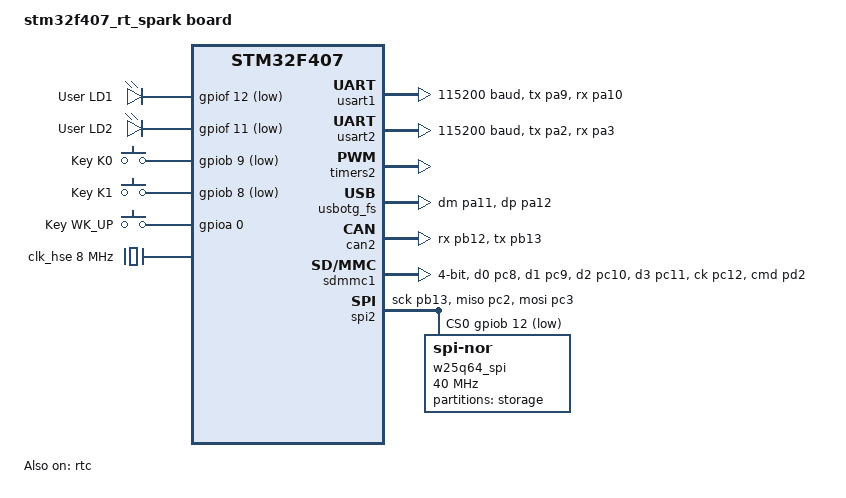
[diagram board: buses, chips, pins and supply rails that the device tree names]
/*
 * Copyright The Zephyr Project Contributors
 *
 * SPDX-License-Identifier: Apache-2.0
 */

/dts-v1/;
#include <st/f4/stm32f407Xg.dtsi>
#include <st/f4/stm32f407z(e-g)tx-pinctrl.dtsi>
#include <zephyr/dt-bindings/input/input-event-codes.h>
#include <zephyr/dt-bindings/dma/stm32_dma.h>
/ {
	model = "stm32f407_rt_spark board";
	compatible = "ruiside,stm32f407-rt-spark";

	chosen {
		zephyr,console = &usart1;
		zephyr,shell-uart = &usart1;
		zephyr,sram = &sram0;
		zephyr,flash = &flash0;
		zephyr,ccm = &ccm0;
	};

	leds {
		compatible = "gpio-leds";

		red_led: led_1 {
			gpios = <&gpiof 12 GPIO_ACTIVE_LOW>;
			label = "User LD1";
		};

		blue_led: led_2 {
			gpios = <&gpiof 11 GPIO_ACTIVE_LOW>;
			label = "User LD2";
		};
	};

	gpio_keys {
		compatible = "gpio-keys";

		user_button_0: K0 {
			label = "Key K0";
			gpios = <&gpiob 9 GPIO_ACTIVE_LOW>;
			zephyr,code = <INPUT_KEY_0>;
		};

		user_button_1: K1 {
			label = "Key K1";
			gpios = <&gpiob 8 GPIO_ACTIVE_LOW>;
			zephyr,code = <INPUT_KEY_1>;
		};

		user_button_UP: K_UP {
			label = "Key WK_UP";
			gpios = <&gpioa 0 GPIO_ACTIVE_HIGH>;
			zephyr,code = <INPUT_KEY_UP>;
		};
	};

	aliases {
		led0 = &red_led;
		led1 = &blue_led;
		sw0 = &user_button_UP;
		sdhc0 = &sdhc;
	};
};

&clk_lsi {
	status = "okay";
};

&clk_hse {
	clock-frequency = <DT_FREQ_M(8)>;
	status = "okay";
};

&pll {
	div-m = <8>;
	mul-n = <336>;
	div-p = <2>;
	div-q = <7>;
	clocks = <&clk_hse>;
	status = "okay";
};

&rcc {
	clocks = <&pll>;
	clock-frequency = <DT_FREQ_M(168)>;
	ahb-prescaler = <1>;
	apb1-prescaler = <4>;
	apb2-prescaler = <2>;
};


&usart1 {
	pinctrl-0 = <&usart1_tx_pa9 &usart1_rx_pa10>;
	pinctrl-names = "default";
	current-speed = <115200>;
	status = "okay";
};

&usart2 {
	pinctrl-0 = <&usart2_tx_pa2 &usart2_rx_pa3>;
	pinctrl-names = "default";
	current-speed = <115200>;
	status = "okay";
};

&timers2 {
	status = "okay";

	pwm2: pwm {
		status = "okay";
		pinctrl-0 = <&tim2_ch1_pa0>;
		pinctrl-names = "default";
	};
};

&rtc {
	clocks = <&rcc STM32_CLOCK_BUS_APB1 0x10000000>,
	         <&rcc STM32_SRC_LSI RTC_SEL(2)>;
	status = "okay";
};

zephyr_udc0: &usbotg_fs {
	pinctrl-0 = <&usb_otg_fs_dm_pa11 &usb_otg_fs_dp_pa12>;
	pinctrl-names = "default";
	status = "okay";
};

&can1 {
	pinctrl-0 = <&can1_rx_pd0 &can1_tx_pd1>;
	pinctrl-names = "default";
	status = "disabled";
};

&can2 {
	pinctrl-0 = <&can2_rx_pb12 &can2_tx_pb13>;
	pinctrl-names = "default";
	status = "okay";
};

// &sdmmc1 {
// 	status = "okay";
// 	pinctrl-0 = <&sdio_d0_pc8 &sdio_d1_pc9
// 		     &sdio_d2_pc10 &sdio_d3_pc11
// 		     &sdio_ck_pc12 &sdio_cmd_pd2>;
// 	pinctrl-names = "default";
// 	clk-bypass;
// 	// clk-div = <6>;
// 	bus-width = <4>;
// 	cd-gpios = <&gpiof 3 (GPIO_ACTIVE_LOW)>;
// 	dmas = <&dma2 6 4 (STM32_DMA_PERIPH_TX | STM32_DMA_PRIORITY_HIGH) STM32_DMA_FIFO_FULL>,
// 	       <&dma2 3 4 (STM32_DMA_PERIPH_RX | STM32_DMA_PRIORITY_HIGH) STM32_DMA_FIFO_FULL>;
// 	dma-names = "tx", "rx";
// 	disk-name = "SD";
// };
sdhc: &sdmmc1 {
	compatible = "st,stm32-sdio";
	pinctrl-0 = <&sdio_d0_pc8 &sdio_d1_pc9
		     &sdio_d2_pc10 &sdio_d3_pc11
		     &sdio_ck_pc12 &sdio_cmd_pd2>;
	pinctrl-names = "default";
	// sdhi-on-gpios = <&gpioj 1 GPIO_ACTIVE_HIGH>;
	reg = <0x40012c00 0x400>;
	clocks = <&rcc STM32_CLOCK(APB2, 11U)>,
			<&rcc STM32_SRC_PLL_Q NO_SEL>;
	resets = <&rctl STM32_RESET(APB2, 11U)>;
	interrupts = <49 0>;
	min-bus-freq = <DT_FREQ_K(400)>;
	max-bus-freq = <DT_FREQ_M(48)>;
	clk-div = <46>;
	// cd-gpios = <&gpiod 4 (GPIO_ACTIVE_HIGH | GPIO_PULL_UP)>;
	// hw-flow-control;
	bus-width = <4>;
	status = "okay";
	// sdmmc {
	// 	compatible = "zephyr,sdmmc-disk";
	// 	disk-name = "SD";
	// 	status = "okay";
	// };

};
&dma2 {
	status = "okay";
};

&spi2 {
	pinctrl-0 = <&spi2_sck_pb13 &spi2_miso_pc2 &spi2_mosi_pc3>;
	cs-gpios = <&gpiob 12 GPIO_ACTIVE_LOW>;
	pinctrl-names = "default";
	status = "okay";

	w25q64_spi: spi-nor-flash@0 {
		compatible = "jedec,spi-nor";
		reg = <0>;
		spi-max-frequency = <40000000>;
		size = <DT_SIZE_M(64)>; /* 64 Mbits */
		status = "okay";
		jedec-id = [ef 40 17];
		has-dpd;
		t-enter-dpd = <3500>;
		t-exit-dpd = <3500>;
		partitions {
			compatible = "fixed-partitions";
			#address-cells = <1>;
			#size-cells = <1>;
			storage_partition: partition@0 {
				label = "storage";
				reg = <0x00000000 DT_SIZE_M(8)>;
			};
		};
	};
};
